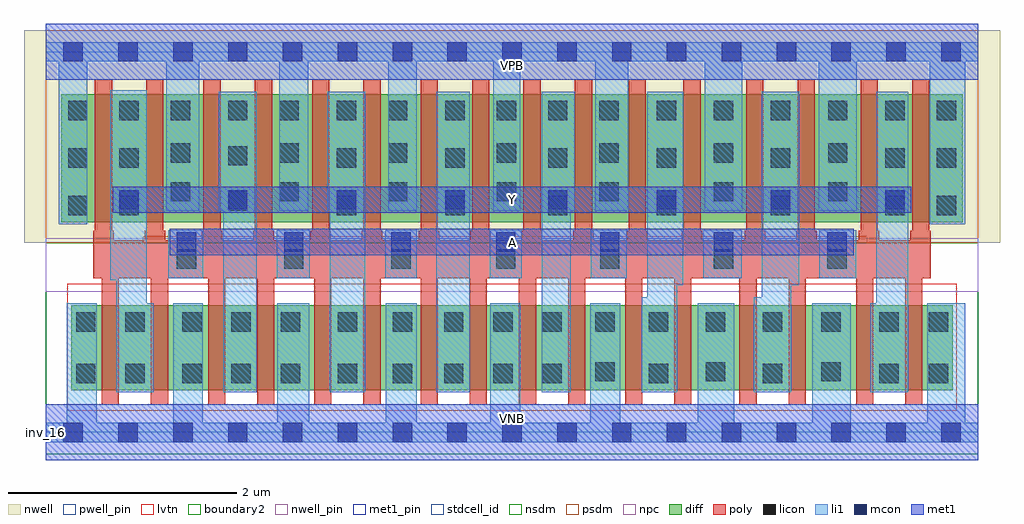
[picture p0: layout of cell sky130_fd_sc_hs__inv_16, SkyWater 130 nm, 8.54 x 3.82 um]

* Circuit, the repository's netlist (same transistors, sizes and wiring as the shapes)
* Copyright 2020 The SkyWater PDK Authors
*
* Licensed under the Apache License, Version 2.0 (the "License");
* you may not use this file except in compliance with the License.
* You may obtain a copy of the License at
*
*     https://www.apache.org/licenses/LICENSE-2.0
*
* Unless required by applicable law or agreed to in writing, software
* distributed under the License is distributed on an "AS IS" BASIS,
* WITHOUT WARRANTIES OR CONDITIONS OF ANY KIND, either express or implied.
* See the License for the specific language governing permissions and
* limitations under the License.
*
* SPDX-License-Identifier: Apache-2.0


.subckt sky130_fd_sc_hs__inv_16 A VGND VNB VPB VPWR Y
X0 VPWR A Y VPB sky130_fd_pr__pfet_01v8 w=1.12 l=150000u
X1 Y A VGND VNB sky130_fd_pr__nfet_01v8_lvt w=740000u l=150000u
X2 Y A VPWR VPB sky130_fd_pr__pfet_01v8 w=1.12 l=150000u
X3 Y A VPWR VPB sky130_fd_pr__pfet_01v8 w=1.12 l=150000u
X4 VPWR A Y VPB sky130_fd_pr__pfet_01v8 w=1.12 l=150000u
X5 VGND A Y VNB sky130_fd_pr__nfet_01v8_lvt w=740000u l=150000u
X6 Y A VPWR VPB sky130_fd_pr__pfet_01v8 w=1.12 l=150000u
X7 VGND A Y VNB sky130_fd_pr__nfet_01v8_lvt w=740000u l=150000u
X8 VPWR A Y VPB sky130_fd_pr__pfet_01v8 w=1.12 l=150000u
X9 VGND A Y VNB sky130_fd_pr__nfet_01v8_lvt w=740000u l=150000u
X10 Y A VPWR VPB sky130_fd_pr__pfet_01v8 w=1.12 l=150000u
X11 VGND A Y VNB sky130_fd_pr__nfet_01v8_lvt w=740000u l=150000u
X12 VPWR A Y VPB sky130_fd_pr__pfet_01v8 w=1.12 l=150000u
X13 VGND A Y VNB sky130_fd_pr__nfet_01v8_lvt w=740000u l=150000u
X14 Y A VGND VNB sky130_fd_pr__nfet_01v8_lvt w=740000u l=150000u
X15 Y A VGND VNB sky130_fd_pr__nfet_01v8_lvt w=740000u l=150000u
X16 VGND A Y VNB sky130_fd_pr__nfet_01v8_lvt w=740000u l=150000u
X17 VPWR A Y VPB sky130_fd_pr__pfet_01v8 w=1.12 l=150000u
X18 VGND A Y VNB sky130_fd_pr__nfet_01v8_lvt w=740000u l=150000u
X19 Y A VGND VNB sky130_fd_pr__nfet_01v8_lvt w=740000u l=150000u
X20 Y A VGND VNB sky130_fd_pr__nfet_01v8_lvt w=740000u l=150000u
X21 VPWR A Y VPB sky130_fd_pr__pfet_01v8 w=1.12 l=150000u
X22 Y A VGND VNB sky130_fd_pr__nfet_01v8_lvt w=740000u l=150000u
X23 Y A VPWR VPB sky130_fd_pr__pfet_01v8 w=1.12 l=150000u
X24 Y A VPWR VPB sky130_fd_pr__pfet_01v8 w=1.12 l=150000u
X25 VGND A Y VNB sky130_fd_pr__nfet_01v8_lvt w=740000u l=150000u
X26 Y A VGND VNB sky130_fd_pr__nfet_01v8_lvt w=740000u l=150000u
X27 Y A VGND VNB sky130_fd_pr__nfet_01v8_lvt w=740000u l=150000u
X28 VPWR A Y VPB sky130_fd_pr__pfet_01v8 w=1.12 l=150000u
X29 VPWR A Y VPB sky130_fd_pr__pfet_01v8 w=1.12 l=150000u
X30 Y A VPWR VPB sky130_fd_pr__pfet_01v8 w=1.12 l=150000u
X31 Y A VPWR VPB sky130_fd_pr__pfet_01v8 w=1.12 l=150000u
.ends

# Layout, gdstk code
import gdstk
lib = gdstk.Library(unit=1e-6, precision=1e-09)
def R(c, l, rs):  # rectangles x0, y0, x1, y1
    for r in rs: c.add(gdstk.rectangle(r[:2], r[2:], *l))
def A(c, l, x, y, w, h, nx, ny, dx, dy):  # array of equal rectangles
    R(c, l, [(x+i*dx, y+j*dy, x+i*dx+w, y+j*dy+h) for i in range(nx) for j in range(ny)])
def P(c, l, *ps):  # polygons
    for p in ps: c.add(gdstk.Polygon(p, *l))
nwell_pin = (64, 16)
nwell = (64, 20)
diff = (65, 20)
poly = (66, 20)
licon = (66, 44)
li1 = (67, 20)
mcon = (67, 44)
met1_pin = (68, 16)
met1 = (68, 20)
stdcell_id = (81, 4)
nsdm = (93, 44)
psdm = (94, 20)
npc = (95, 20)
pwell_pin = (122, 16)
lvtn = (125, 44)
boundary2 = (236, 0)

sky130_fd_sc_hs__inv_16 = lib.new_cell('sky130_fd_sc_hs__inv_16')
R(sky130_fd_sc_hs__inv_16, nwell_pin, [(0,3.085,8.16,3.33)])
R(sky130_fd_sc_hs__inv_16, nwell, [(-0.19,1.66,8.35,3.52)])
R(sky130_fd_sc_hs__inv_16, diff, [(0.225,0.37,7.935,1.11), (0.135,1.84,8.025,2.96)])
P(sky130_fd_sc_hs__inv_16, poly, [(0.49,0.24),(0.49,1.35),(0.415,1.35),(0.415,1.765),(0.43,1.765),(0.43,3.09),(0.58,3.09),(0.58,1.765),(0.595,1.765),(0.595,1.68),(0.865,1.68),(0.865,1.765),(0.88,1.765),(0.88,3.09),(1.03,3.09),(1.03,1.765),(1.045,1.765),(1.045,1.68),(1.365,1.68),(1.365,1.765),(1.38,1.765),(1.38,3.09),(1.53,3.09),(1.53,1.765),(1.545,1.765),(1.545,1.68),(1.815,1.68),(1.815,1.765),(1.83,1.765),(1.83,3.09),(1.98,3.09),(1.98,1.765),(1.995,1.765),(1.995,1.68),(2.315,1.68),(2.315,1.765),(2.33,1.765),(2.33,3.09),(2.48,3.09),(2.48,1.765),(2.495,1.765),(2.495,1.68),(2.765,1.68),(2.765,1.765),(2.78,1.765),(2.78,3.09),(2.93,3.09),(2.93,1.765),(2.945,1.765),(2.945,1.68),(3.265,1.68),(3.265,1.765),(3.28,1.765),(3.28,3.09),(3.43,3.09),(3.43,1.765),(3.445,1.765),(3.445,1.68),(3.715,1.68),(3.715,1.765),(3.73,1.765),(3.73,3.09),(3.88,3.09),(3.88,1.765),(3.895,1.765),(3.895,1.68),(4.165,1.68),(4.165,1.765),(4.18,1.765),(4.18,3.09),(4.33,3.09),(4.33,1.765),(4.345,1.765),(4.345,1.68),(4.615,1.68),(4.615,1.765),(4.63,1.765),(4.63,3.09),(4.78,3.09),(4.78,1.765),(4.795,1.765),(4.795,1.68),(5.085,1.68),(5.085,1.765),(5.1,1.765),(5.1,3.09),(5.25,3.09),(5.25,1.765),(5.265,1.765),(5.265,1.68),(5.565,1.68),(5.565,1.765),(5.58,1.765),(5.58,3.09),(5.73,3.09),(5.73,1.765),(5.745,1.765),(5.745,1.68),(6.115,1.68),(6.115,1.765),(6.13,1.765),(6.13,3.09),(6.28,3.09),(6.28,1.765),(6.295,1.765),(6.295,1.68),(6.565,1.68),(6.565,1.765),(6.58,1.765),(6.58,3.09),(6.73,3.09),(6.73,1.765),(6.745,1.765),(6.745,1.68),(7.115,1.68),(7.115,1.765),(7.13,1.765),(7.13,3.09),(7.28,3.09),(7.28,1.765),(7.295,1.765),(7.295,1.68),(7.565,1.68),(7.565,1.765),(7.58,1.765),(7.58,3.09),(7.73,3.09),(7.73,1.765),(7.745,1.765),(7.745,1.35),(7.67,1.35),(7.67,0.24),(7.52,0.24),(7.52,1.35),(7.24,1.35),(7.24,0.24),(7.09,0.24),(7.09,1.35),(6.65,1.35),(6.65,0.24),(6.5,0.24),(6.5,1.35),(6.22,1.35),(6.22,0.24),(6.07,0.24),(6.07,1.35),(5.65,1.35),(5.65,0.24),(5.5,0.24),(5.5,1.35),(5.22,1.35),(5.22,0.24),(5.07,0.24),(5.07,1.35),(4.72,1.35),(4.72,0.24),(4.57,0.24),(4.57,1.35),(4.29,1.35),(4.29,0.24),(4.14,0.24),(4.14,1.35),(3.86,1.35),(3.86,0.24),(3.71,0.24),(3.71,1.35),(3.43,1.35),(3.43,0.24),(3.28,0.24),(3.28,1.35),(2.93,1.35),(2.93,0.24),(2.78,0.24),(2.78,1.35),(2.5,1.35),(2.5,0.24),(2.35,0.24),(2.35,1.35),(2,1.35),(2,0.24),(1.85,0.24),(1.85,1.35),(1.57,1.35),(1.57,0.24),(1.42,0.24),(1.42,1.35),(1.07,1.35),(1.07,0.24),(0.92,0.24),(0.92,1.35),(0.64,1.35),(0.64,0.24)])
A(sky130_fd_sc_hs__inv_16, licon, 1.195, 0.43, 0.17, 0.17, 3, 2, 0.43, 0.45)
A(sky130_fd_sc_hs__inv_16, licon, 3.485, 0.43, 0.17, 0.17, 3, 2, 0.43, 0.45)
A(sky130_fd_sc_hs__inv_16, licon, 5.275, 0.88, 0.17, 0.17, 3, 1, 0.5, 0)
A(sky130_fd_sc_hs__inv_16, licon, 1.145, 1.43, 0.17, 0.17, 3, 1, 0.94, 0)
A(sky130_fd_sc_hs__inv_16, licon, 4.85, 1.43, 0.17, 0.17, 3, 1, 0.995, 0)
A(sky130_fd_sc_hs__inv_16, licon, 2.545, 1.9, 0.17, 0.17, 1, 3, 0, 0.415)
A(sky130_fd_sc_hs__inv_16, licon, 5.345, 1.9, 0.17, 0.17, 3, 2, 1, 0.415)
A(sky130_fd_sc_hs__inv_16, licon, 7.795, 1.9, 0.17, 0.17, 1, 3, 0, 0.415)
A(sky130_fd_sc_hs__inv_16, licon, 1.595, 1.94, 0.17, 0.17, 1, 3, 0, 0.395)
A(sky130_fd_sc_hs__inv_16, licon, 1.095, 2.02, 0.17, 0.17, 4, 2, 0.95, 0.34)
A(sky130_fd_sc_hs__inv_16, licon, 4.845, 2.02, 0.17, 0.17, 3, 2, 1, 0.34)
A(sky130_fd_sc_hs__inv_16, licon, 0.195, 2.73, 0.17, 0.17, 3, 1, 0.45, 0)
A(sky130_fd_sc_hs__inv_16, licon, 3.495, 2.73, 0.17, 0.17, 4, 1, 0.45, 0)
A(sky130_fd_sc_hs__inv_16, licon, 5.345, 2.73, 0.17, 0.17, 5, 1, 0.5, 0)
R(sky130_fd_sc_hs__inv_16, licon, [(0.265,0.43,0.435,0.6), (0.695,0.43,0.865,0.6), (2.555,0.43,2.725,0.6), (3.035,0.43,3.205,0.6), (5.275,0.43,5.445,0.6), (6.275,0.43,6.445,0.6), (7.295,0.43,7.465,0.6), (7.725,0.43,7.895,0.6), (4.81,0.445,4.98,0.615), (5.775,0.445,5.945,0.615), (6.785,0.445,6.955,0.615), (0.265,0.88,0.435,1.05), (0.695,0.88,0.865,1.05), (2.555,0.88,2.725,1.05), (3.035,0.88,3.205,1.05), (4.81,0.88,4.98,1.05), (6.785,0.88,6.955,1.05), (7.295,0.88,7.465,1.05), (7.725,0.88,7.895,1.05), (3.94,1.43,4.11,1.6), (0.195,1.9,0.365,2.07), (0.645,1.9,0.815,2.07), (3.495,1.9,3.665,2.07), (4.395,1.9,4.565,2.07), (0.195,2.315,0.365,2.485), (0.645,2.315,0.815,2.485), (3.495,2.315,3.665,2.485), (4.395,2.315,4.565,2.485), (2.045,2.73,2.215,2.9), (2.995,2.73,3.165,2.9)])
R(sky130_fd_sc_hs__inv_16, li1, [(3.415,0.35,3.71,2.98), (1.07,1.35,1.38,1.77), (2.02,1.35,2.31,1.77), (2.97,1.35,3.245,1.77), (3.885,1.35,4.165,1.77), (4.77,1.35,5.085,1.77), (5.755,1.35,6.09,1.77), (6.77,1.35,7.09,1.77)])
P(sky130_fd_sc_hs__inv_16, li1, [(0.615,0.35),(0.615,1.33),(0.565,1.33),(0.565,2.995),(0.885,2.995),(0.885,1.13),(0.945,1.13),(0.945,0.35)],
  [(1.555,0.35),(1.555,1.94),(1.515,1.94),(1.515,2.98),(1.845,2.98),(1.845,0.35)],
  [(2.485,0.35),(2.485,1.94),(2.465,1.94),(2.465,2.98),(2.795,2.98),(2.795,0.35)],
  [(4.34,0.35),(4.34,2.98),(4.63,2.98),(4.63,1.94),(4.595,1.94),(4.595,0.35)],
  [(5.215,0.35),(5.215,1.18),(5.265,1.18),(5.265,2.98),(5.58,2.98),(5.58,1.285),(5.525,1.285),(5.525,0.35)],
  [(6.195,0.35),(6.195,1.18),(6.265,1.18),(6.265,2.98),(6.595,2.98),(6.595,1.285),(6.525,1.285),(6.525,0.35)],
  [(7.215,0.35),(7.215,1.13),(7.265,1.13),(7.265,2.98),(7.545,2.98),(7.545,0.35)],
  [(0.115,1.82),(0.115,3.245),(0,3.245),(0,3.415),(8.16,3.415),(8.16,3.245),(8.045,3.245),(8.045,1.82),(7.735,1.82),(7.735,3.245),(7.095,3.245),(7.095,1.94),(6.765,1.94),(6.765,3.245),(6.095,3.245),(6.095,1.94),(5.765,1.94),(5.765,3.245),(5.095,3.245),(5.095,1.94),(4.81,1.94),(4.81,3.245),(4.15,3.245),(4.15,1.94),(3.915,1.94),(3.915,3.245),(3.245,3.245),(3.245,1.94),(2.995,1.94),(2.995,3.245),(2.295,3.245),(2.295,1.94),(2.045,1.94),(2.045,3.245),(1.345,3.245),(1.345,1.94),(1.055,1.94),(1.055,3.245),(0.365,3.245),(0.365,1.82)],
  [(0,-0.085),(0,0.085),(0.185,0.085),(0.185,1.13),(0.445,1.13),(0.445,0.085),(1.115,0.085),(1.115,1.13),(1.375,1.13),(1.375,0.085),(2.025,0.085),(2.025,1.13),(2.305,1.13),(2.305,0.085),(2.975,0.085),(2.975,1.13),(3.245,1.13),(3.245,0.085),(3.89,0.085),(3.89,1.13),(4.15,1.13),(4.15,0.085),(4.765,0.085),(4.765,1.13),(5.025,1.13),(5.025,0.085),(5.705,0.085),(5.705,1.13),(6.025,1.13),(6.025,0.085),(6.705,0.085),(6.705,1.13),(7.045,1.13),(7.045,0.085),(7.715,0.085),(7.715,1.13),(8.045,1.13),(8.045,0.085),(8.16,0.085),(8.16,-0.085)])
A(sky130_fd_sc_hs__inv_16, mcon, 0.155, -0.085, 0.17, 0.17, 17, 2, 0.48, 3.33)
A(sky130_fd_sc_hs__inv_16, mcon, 1.145, 1.58, 0.17, 0.17, 3, 1, 0.94, 0)
A(sky130_fd_sc_hs__inv_16, mcon, 4.85, 1.58, 0.17, 0.17, 3, 1, 0.995, 0)
A(sky130_fd_sc_hs__inv_16, mcon, 0.645, 1.95, 0.17, 0.17, 4, 1, 0.95, 0)
A(sky130_fd_sc_hs__inv_16, mcon, 5.345, 1.95, 0.17, 0.17, 3, 1, 1, 0)
R(sky130_fd_sc_hs__inv_16, mcon, [(3.94,1.58,4.11,1.75), (4.395,1.95,4.565,2.12)])
R(sky130_fd_sc_hs__inv_16, met1_pin, [(0,-0.245,8.16,0.245), (1.085,1.55,7.07,1.78), (0.585,1.92,7.575,2.15), (0,3.085,8.16,3.575)])
R(sky130_fd_sc_hs__inv_16, met1, [(0,-0.245,8.16,0.245), (1.085,1.55,7.07,1.78), (0.585,1.92,7.575,2.15), (0,3.085,8.16,3.575)])
R(sky130_fd_sc_hs__inv_16, stdcell_id, [(0,0,8.16,3.33)])
R(sky130_fd_sc_hs__inv_16, nsdm, [(0,-0.19,8.16,1.66)])
P(sky130_fd_sc_hs__inv_16, psdm, [(0,1.66),(0,3.52),(8.16,3.52),(8.16,1.66),(7.185,1.66),(7.185,1.71),(0.855,1.71),(0.855,1.66)])
R(sky130_fd_sc_hs__inv_16, npc, [(0,1.23,8.16,1.7)])
R(sky130_fd_sc_hs__inv_16, pwell_pin, [(0,0,8.16,0.245)])
R(sky130_fd_sc_hs__inv_16, lvtn, [(0.19,0.19,7.97,1.3)])
R(sky130_fd_sc_hs__inv_16, boundary2, [(0,0,8.16,3.33)])
sky130_fd_sc_hs__inv_16.add(gdstk.Label('inv_16', (0,0), layer=83, texttype=44))
sky130_fd_sc_hs__inv_16.add(gdstk.Label('VNB', (4.08,0.123), layer=64, texttype=59))
sky130_fd_sc_hs__inv_16.add(gdstk.Label('VPB', (4.08,3.208), layer=64, texttype=5))
sky130_fd_sc_hs__inv_16.add(gdstk.Label('VPWR', (4.08,3.208), layer=68, texttype=5))
sky130_fd_sc_hs__inv_16.add(gdstk.Label('VGND', (4.08,0.123), layer=68, texttype=5))
sky130_fd_sc_hs__inv_16.add(gdstk.Label('Y', (4.08,2.035), layer=68, texttype=5))
sky130_fd_sc_hs__inv_16.add(gdstk.Label('A', (4.08,1.665), layer=68, texttype=5))

lib.write_gds('sky130_fd_sc_hs__inv_16.gds')
